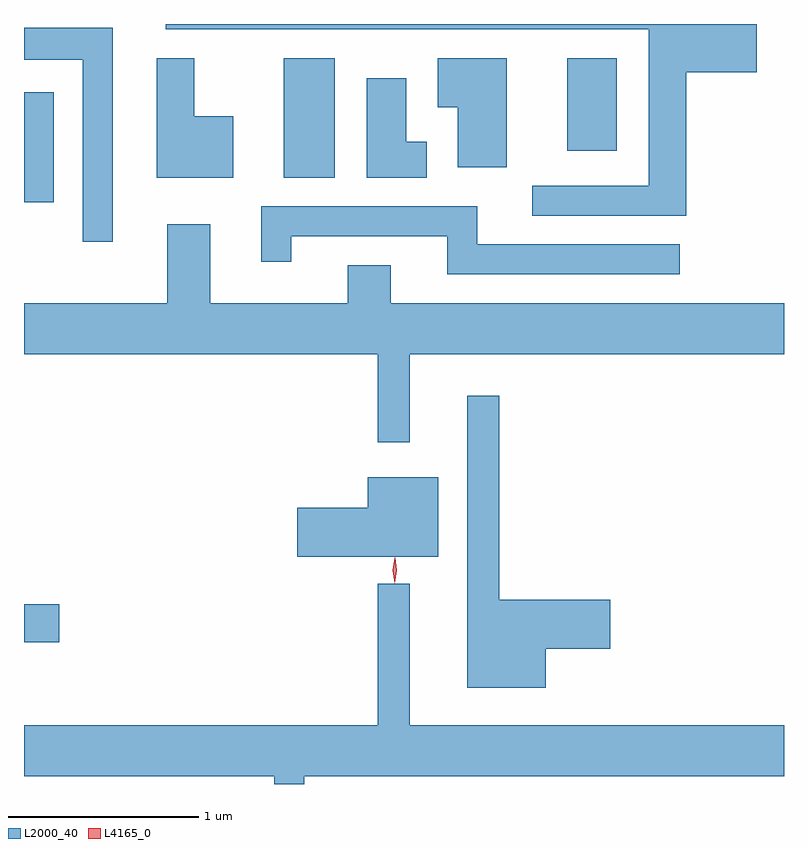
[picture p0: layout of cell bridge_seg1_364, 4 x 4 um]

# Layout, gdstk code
import gdstk
lib = gdstk.Library(unit=1e-6, precision=1e-09)
def R(c, l, rs):  # rectangles x0, y0, x1, y1
    for r in rs: c.add(gdstk.rectangle(r[:2], r[2:], *l))
def P(c, l, *ps):  # polygons
    for p in ps: c.add(gdstk.Polygon(p, *l))
L2000_40 = (2000, 40)
L4165_0 = (4165, 0)

bridge_seg1_364 = lib.new_cell('bridge_seg1_364')
R(bridge_seg1_364, L2000_40, [(890.218,871.421,890.404,871.619), (890.218,873.736,890.374,874.314), (891.586,873.866,891.854,874.494), (893.076,874.006,893.339,874.494)])
P(bridge_seg1_364, L2000_40, [(893.704,874.421),(894.074,874.421),(894.074,874.674),(890.963,874.674),(890.963,874.646),(893.506,874.646),(893.506,873.824),(892.893,873.824),(892.893,873.666),(893.704,873.666)],
  [(890.684,874.654),(890.218,874.654),(890.218,874.486),(890.526,874.486),(890.526,873.528),(890.684,873.528)],
  [(891.319,874.189),(891.114,874.189),(891.114,874.494),(890.916,874.494),(890.916,873.866),(891.319,873.866)],
  [(892.759,874.494),(892.396,874.494),(892.396,874.236),(892.501,874.236),(892.501,873.921),(892.759,873.921)],
  [(892.339,874.054),(892.229,874.054),(892.229,874.389),(892.021,874.389),(892.021,873.866),(892.339,873.866)],
  [(893.668,873.514),(892.604,873.514),(892.604,873.714),(891.466,873.714),(891.466,873.423),(891.624,873.423),(891.624,873.556),(892.446,873.556),(892.446,873.356),(893.668,873.356)],
  [(892.249,872.936),(894.218,872.936),(894.218,873.204),(892.149,873.204),(892.149,873.404),(891.921,873.404),(891.921,873.204),(891.199,873.204),(891.199,873.619),(890.971,873.619),(890.971,873.204),(890.218,873.204),(890.218,872.936),(892.081,872.936),(892.081,872.473),(892.249,872.473)],
  [(892.964,871.386),(893.304,871.386),(893.304,871.644),(892.719,871.644),(892.719,872.718),(892.551,872.718),(892.551,871.181),(892.964,871.181)],
  [(892.399,872.289),(892.026,872.289),(892.026,872.129),(891.656,872.129),(891.656,871.871),(892.399,871.871)],
  [(891.694,870.716),(894.218,870.716),(894.218,870.984),(892.249,870.984),(892.249,871.728),(892.081,871.728),(892.081,870.984),(890.218,870.984),(890.218,870.716),(891.536,870.716),(891.536,870.674),(891.694,870.674)])
P(bridge_seg1_364, L4165_0, [(892.169,871.733),(892.168,871.734),(892.159,871.796),(892.168,871.859),(892.169,871.86),(892.169,871.859),(892.179,871.796),(892.169,871.734)],
  [(892.168,871.73),(892.16,871.798),(892.17,871.865),(892.171,871.866),(892.171,871.865),(892.18,871.798),(892.169,871.73),(892.169,871.73)])

lib.write_gds('bridge_seg1_364.gds')
